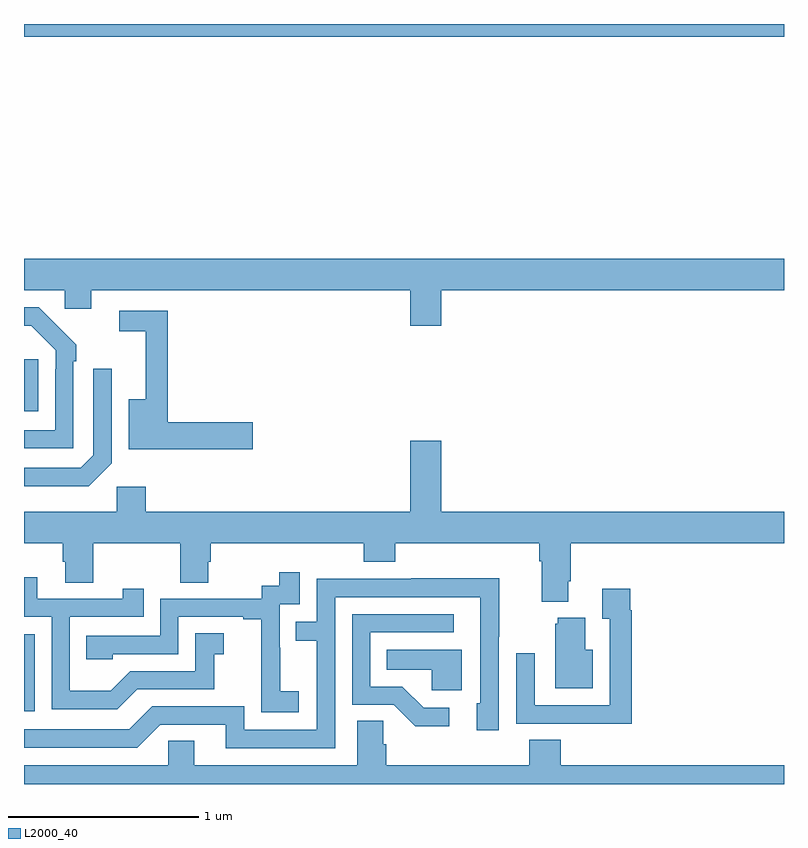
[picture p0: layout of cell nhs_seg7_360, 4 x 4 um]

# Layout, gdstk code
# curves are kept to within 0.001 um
import gdstk
lib = gdstk.Library(unit=1e-6, precision=1e-09)
def R(c, l, rs):  # rectangles x0, y0, x1, y1
    for r in rs: c.add(gdstk.rectangle(r[:2], r[2:], *l))
def P(c, l, *ps):  # polygons
    for p in ps: c.add(gdstk.Polygon(p, *l))
L2000_40 = (2000, 40)

nhs_seg7_360 = lib.new_cell('nhs_seg7_360')
R(nhs_seg7_360, L2000_40, [(139,1014.384,139.056,1014.789), (139,1015.961,139.075,1016.236), (139,1017.932,143,1018)])
P(nhs_seg7_360, L2000_40, [(141.196,1016.6),(143,1016.6),(143,1016.764),(139,1016.764),(139,1016.6),(139.215,1016.6),(139.215,1016.502),(139.354,1016.502),(139.354,1016.6),(141.032,1016.6),(141.032,1016.412),(141.196,1016.412)],
  [(139.26,1016.225),(139.275,1016.225),(139.275,1016.313),(139.078,1016.508),(139,1016.508),(139,1016.412),(139.039,1016.412),(139.167,1016.283),(139.167,1016.183),(139.164,1016.183),(139.164,1015.863),(139,1015.863),(139,1015.767),(139.26,1015.767)],
  [(140.203,1015.904),(139.757,1015.904),(139.757,1016.49),(139.5,1016.49),(139.5,1016.382),(139.64,1016.382),(139.64,1016.026),(139.55,1016.026),(139.55,1015.762),(140.203,1015.762)],
  [(139.461,1015.689),(139.461,1016.185),(139.365,1016.185),(139.365,1015.731),(139.299,1015.665),(139,1015.665),(139,1015.568),(139.34,1015.568)],
  [(141.865,1015.066),(141.878,1015.066),(141.878,1015.268),(143,1015.268),(143,1015.432),(141.196,1015.432),(141.196,1015.807),(141.032,1015.807),(141.032,1015.432),(139.64,1015.432),(139.64,1015.564),(139.488,1015.564),(139.488,1015.432),(139,1015.432),(139,1015.268),(139.205,1015.268),(139.205,1015.17),(139.217,1015.17),(139.217,1015.06),(139.365,1015.06),(139.365,1015.268),(139.822,1015.268),(139.822,1015.06),(139.969,1015.06),(139.969,1015.17),(139.982,1015.17),(139.982,1015.268),(140.789,1015.268),(140.789,1015.169),(140.954,1015.169),(140.954,1015.268),(141.713,1015.268),(141.713,1015.172),(141.725,1015.172),(141.725,1014.959),(141.865,1014.959)],
  [(140.446,1014.487),(140.348,1014.487),(140.348,1014.716),(140.346,1014.716),(140.346,1014.945),(140.451,1014.945),(140.451,1015.114),(140.343,1015.114),(140.343,1015.044),(140.25,1015.044),(140.25,1014.975),(139.716,1014.975),(139.716,1014.78),(139.327,1014.78),(139.327,1014.657),(139.467,1014.657),(139.467,1014.684),(139.812,1014.684),(139.812,1014.879),(140.153,1014.879),(140.153,1014.867),(140.249,1014.867),(140.249,1014.583),(140.248,1014.583),(140.248,1014.377),(140.446,1014.377)],
  [(139.597,1014.498),(140.001,1014.498),(140.001,1014.683),(140.05,1014.683),(140.05,1014.793),(139.902,1014.793),(139.902,1014.594),(139.56,1014.594),(139.456,1014.49),(139.242,1014.49),(139.242,1014.879),(139.631,1014.879),(139.631,1015.027),(139.52,1015.027),(139.52,1014.975),(139.069,1014.975),(139.069,1015.087),(139,1015.087),(139,1014.879),(139.146,1014.879),(139.146,1014.393),(139.492,1014.393)],
  [(140.637,1014.984),(141.401,1014.984),(141.402,1014.426),(141.383,1014.426),(141.383,1014.282),(141.498,1014.282),(141.498,1014.775),(141.501,1014.775),(141.501,1015.082),(141.037,1015.082),(141.037,1015.08),(140.541,1015.08),(140.541,1014.855),(140.431,1014.855),(140.431,1014.754),(140.541,1014.754),(140.541,1014.285),(140.16,1014.285),(140.16,1014.408),(139.674,1014.408),(139.554,1014.288),(139,1014.288),(139,1014.192),(139.596,1014.192),(139.716,1014.312),(140.063,1014.312),(140.063,1014.189),(140.637,1014.189)],
  [(142.199,1014.914),(142.192,1014.914),(142.192,1015.027),(142.043,1015.027),(142.043,1014.871),(142.083,1014.871),(142.083,1014.414),(141.687,1014.414),(141.687,1014.688),(141.591,1014.688),(141.591,1014.318),(141.907,1014.318),(141.907,1014.317),(142.199,1014.317)],
  [(141.238,1014.402),(141.103,1014.402),(140.992,1014.513),(140.823,1014.513),(140.823,1014.798),(141.262,1014.798),(141.262,1014.894),(140.727,1014.894),(140.727,1014.417),(140.946,1014.417),(141.059,1014.305),(141.238,1014.305)],
  [(141.994,1014.706),(141.955,1014.706),(141.955,1014.874),(141.809,1014.874),(141.809,1014.843),(141.797,1014.843),(141.797,1014.503),(141.994,1014.503)],
  [(141.304,1014.706),(140.908,1014.706),(140.908,1014.602),(141.147,1014.602),(141.147,1014.494),(141.304,1014.494)],
  [(141.824,1014.233),(141.659,1014.233),(141.659,1014.1),(140.906,1014.1),(140.906,1014.209),(140.892,1014.209),(140.892,1014.332),(140.753,1014.332),(140.753,1014.1),(139.897,1014.1),(139.897,1014.227),(139.758,1014.227),(139.758,1014.1),(139,1014.1),(139,1014),(143,1014),(143,1014.1),(141.824,1014.1)])

lib.write_gds('nhs_seg7_360.gds')
